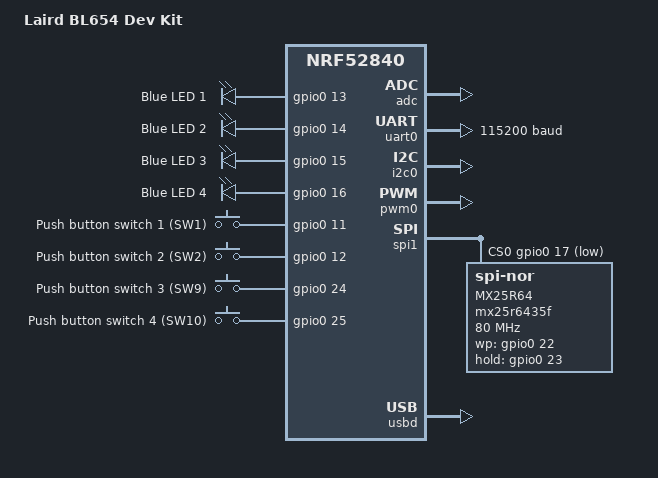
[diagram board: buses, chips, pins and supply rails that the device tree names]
/*
 * Copyright (c) 2019 Laird Connectivity
 *
 * SPDX-License-Identifier: Apache-2.0
 */

/dts-v1/;
#include <nordic/nrf52840_qiaa.dtsi>
#include "bl654_dvk-pinctrl.dtsi"

/ {
	model = "Laird BL654 Dev Kit";
	compatible = "nordic,pca10056-dk";

	chosen {
		zephyr,console = &uart0;
		zephyr,shell-uart = &uart0;
		zephyr,uart-mcumgr = &uart0;
		zephyr,bt-mon-uart = &uart0;
		zephyr,bt-c2h-uart = &uart0;
		zephyr,sram = &sram0;
		zephyr,flash = &flash0;
		zephyr,code-partition = &slot0_partition;
	};

	leds {
		compatible = "gpio-leds";
		led1: led_1 {
			gpios = <&gpio0 13 GPIO_ACTIVE_HIGH>;
			label = "Blue LED 1";
		};
		led2: led_2 {
			gpios = <&gpio0 14 GPIO_ACTIVE_HIGH>;
			label = "Blue LED 2";
		};
		led3: led_3 {
			gpios = <&gpio0 15 GPIO_ACTIVE_HIGH>;
			label = "Blue LED 3";
		};
		led4: led_4 {
			gpios = <&gpio0 16 GPIO_ACTIVE_HIGH>;
			label = "Blue LED 4";
		};
	};

	buttons {
		compatible = "gpio-keys";
		button1: button_1 {
			gpios = <&gpio0 11 GPIO_PULL_UP>;
			label = "Push button switch 1 (SW1)";
		};
		button2: button_2 {
			gpios = <&gpio0 12 GPIO_PULL_UP>;
			label = "Push button switch 2 (SW2)";
		};
		button3: button_3 {
			gpios = <&gpio0 24 GPIO_PULL_UP>;
			label = "Push button switch 3 (SW9)";
		};
		button4: button_4 {
			gpios = <&gpio0 25 GPIO_PULL_UP>;
			label = "Push button switch 4 (SW10)";
		};
	};

	/* These aliases are provided for compatibility with samples */
	aliases {
		led0 = &led1;
		led1 = &led2;
		led2 = &led3;
		led3 = &led4;
		sw0 = &button1;
		sw1 = &button2;
		sw2 = &button3;
		sw3 = &button4;
		mcuboot-button0 = &button1;
		mcuboot-led0 = &led1;
		watchdog0 = &wdt0;
	};
};

&adc {
	status = "okay";
};

&gpiote {
	status = "okay";
};

&gpio0 {
	status = "okay";
};

&gpio1 {
	status = "okay";
};

&uart0 {
	compatible = "nordic,nrf-uart";
	current-speed = <115200>;
	status = "okay";
	pinctrl-0 = <&uart0_default>;
	pinctrl-1 = <&uart0_sleep>;
	pinctrl-names = "default", "sleep";
};

&i2c0 {
	compatible = "nordic,nrf-twi";
	status = "okay";

	pinctrl-0 = <&i2c0_default>;
	pinctrl-1 = <&i2c0_sleep>;
	pinctrl-names = "default", "sleep";
	dac0: mcp4725@60 {
		/* MCP4725 not populated at factory */
		compatible = "microchip,mcp4725";
		reg = <0x60>;
		label = "MCP4725";
		#io-channel-cells = <1>;
		status = "disabled";
	};
};

&pwm0 {
	status = "okay";
	pinctrl-0 = <&pwm0_default>;
	pinctrl-1 = <&pwm0_sleep>;
	pinctrl-names = "default", "sleep";
};

&spi0 {
	compatible = "nordic,nrf-spi";
	/* Cannot be used together with i2c0. */
	/* status = "okay"; */
	cs-gpios = <&gpio1 12 GPIO_ACTIVE_LOW>;
	pinctrl-0 = <&spi0_default>;
	pinctrl-1 = <&spi0_sleep>;
	pinctrl-names = "default", "sleep";
};

&spi1 {
	compatible = "nordic,nrf-spi";
	status = "okay";
	cs-gpios = <&gpio0 17 GPIO_ACTIVE_LOW>;
	pinctrl-0 = <&spi1_default>;
	pinctrl-1 = <&spi1_sleep>;
	pinctrl-names = "default", "sleep";
	mx25r6435f@0 {
		compatible = "jedec,spi-nor";
		reg = <0>;
		spi-max-frequency = <80000000>;
		label = "MX25R64";
		jedec-id = [c2 28 17];
		size = <67108864>;
		wp-gpios = <&gpio0 22 0>;
		hold-gpios = <&gpio0 23 0>;
	};
};

&flash0 {

	partitions {
		compatible = "fixed-partitions";
		#address-cells = <1>;
		#size-cells = <1>;

		boot_partition: partition@0 {
			label = "mcuboot";
			reg = <0x00000000 0x0000C000>;
		};
		slot0_partition: partition@c000 {
			label = "image-0";
			reg = <0x0000C000 0x00067000>;
		};
		slot1_partition: partition@73000 {
			label = "image-1";
			reg = <0x00073000 0x00067000>;
		};
		scratch_partition: partition@da000 {
			label = "image-scratch";
			reg = <0x000da000 0x0001e000>;
		};

		/*
		 * The flash starting at 0x000f8000 and ending at
		 * 0x000fffff is reserved for use by the application.
		 */

		/*
		 * Storage partition will be used by FCB/LittleFS/NVS
		 * if enabled.
		 */
		storage_partition: partition@f8000 {
			label = "storage";
			reg = <0x000f8000 0x00008000>;
		};
	};
};

zephyr_udc0: &usbd {
	compatible = "nordic,nrf-usbd";
	status = "okay";
};
